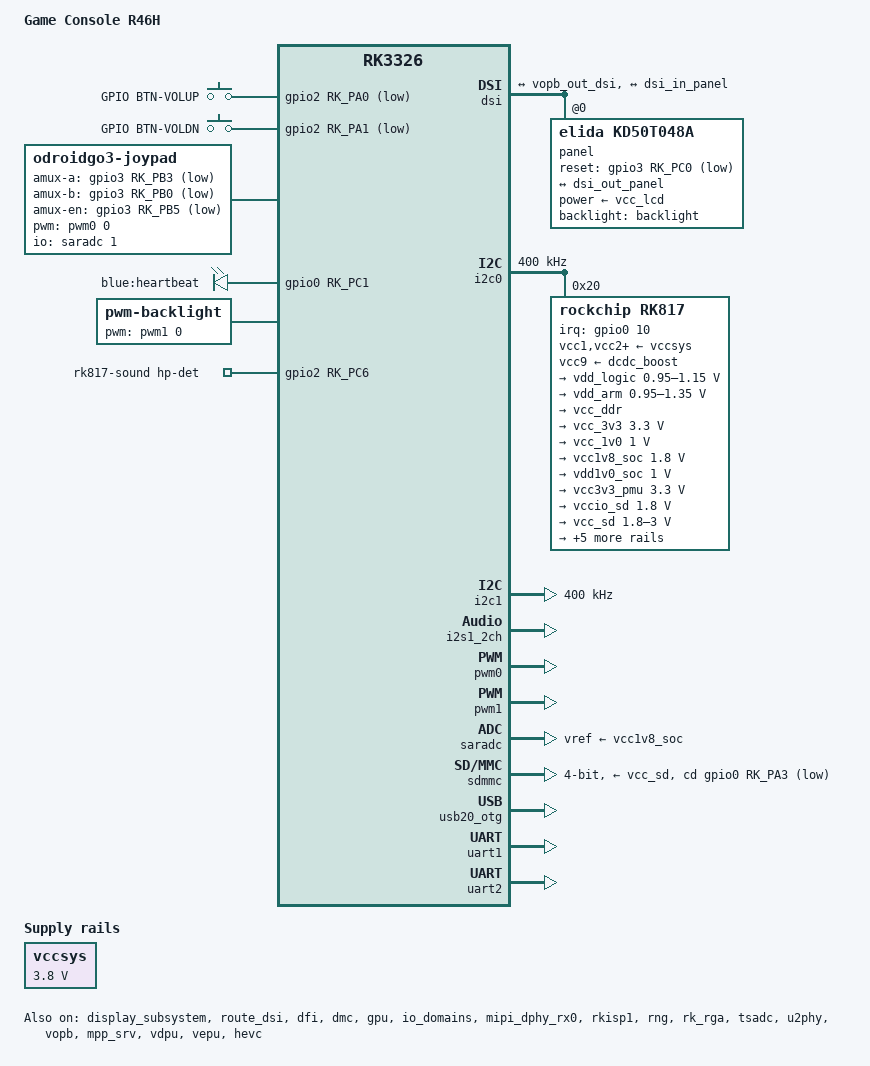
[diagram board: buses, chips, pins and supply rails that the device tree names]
// SPDX-License-Identifier: (GPL-2.0+ OR MIT)
/*
 * Copyright (c) 2020 Hardkernel Co., Ltd
 */

/dts-v1/;
#include <dt-bindings/display/drm_mipi_dsi.h>
#include <dt-bindings/gpio/gpio.h>
#include <dt-bindings/input/input.h>
#include <dt-bindings/pinctrl/rockchip.h>
#include <dt-bindings/sensor-dev.h>
#include "rk3326.dtsi"
#include "rk3326-linux.dtsi"

/ {
	model = "Game Console R46H";
	compatible = "rockchip,rk3326-odroidgo3-linux", "rockchip,rk3326";

	chosen {
                bootargs = "";
	};

	gpio_keys: odroidgo3-keys {
			compatible = "gpio-keys";
			#address-cells = <1>;
			#size-cells = <0>;
			autorepeat;
			button@0 {
				label = "GPIO BTN-VOLUP";
				linux,code = <115>;
				gpios = <&gpio2 RK_PA0 GPIO_ACTIVE_LOW>;
			};
			button@1 {
				label = "GPIO BTN-VOLDN";
				linux,code = <114>;
				gpios = <&gpio2 RK_PA1 GPIO_ACTIVE_LOW>;
			};
	};

       joypad: odroidgo3-joypad {
                compatible = "odroidgo3-joypad";
                pwms = <&pwm0 0 200000000 0>;		 
                pwm-names = "enable";
                rumble-boost-weak = <0x0000>;
                rumble-boost-strong = <0x0000>;
		 
                joypad-name = "GO-Super Gamepad";
                joypad-product = <0x1100>;
                joypad-revision = <0x0100>;

               status = "okay";
                /*
                  - odroidgo3-joypad sysfs list -
                  * for poll device interval(ms)
                  /sys/devices/platform/odroidgo3_joypad/poll_interval [rw]
                  ex) echo 20 > poll_interval
                   * for button-adc-fuzz
                  /sys/devices/platform/odroidgo3_joypad/adc_fuzz [r]
                   * for button-adc-flat
                  /sys/devices/platform/odroidgo3_joypad/adc_flat [r]

		   * for report control(1:enable, 0:disable)
		   /sys/devices/platform/odroidgo3_joypad/enable [rw]
		   * for adc calibration value setup(current adcs value -> cal value)
		   /sys/devices/platform/odroidgo3_joypad/adc_cal [rw]
		   ex) echo 0 > adc_cal

		   * for rumble period(ns)
		   /sys/devices/platform/odroidgo3_joypad/rumble_period
		   ex) echo 20000000 > rumble_duty_cycle
		   ex) cat rumble_duty_cycle -->get current duty cycle

		   * for rumble boost(0~65535)
		   /sys/devices/platform/odroidgo3_joypad/rumble_boost_weak
		   /sys/devices/platform/odroidgo3_joypad/rumble_boost_strong


		   * for amux data debug
		   * Joypad driver is disabled when using this sysfs.
		   /sys/devices/platform/odroidgo3_joypad/amux_debug [rw]
		   ex) echo 0 > amux_debug --> select amux channel
		   ex) cat amux_debug --> get adc data of seleted channel
                */

               /* gpio pincontrol setup */
                pinctrl-names = "default";
                pinctrl-0 = <&btn_pins>;
                pinctrl-1 = <&pwm0_pin>;

               /* Analog mux define */
               io-channel-names = "amux_adc";
               io-channels = <&saradc 1>;

               /* adc mux channel count */
               amux-count = <4>;
               /* adc mux select(a,b) gpio */
               amux-a-gpios = <&gpio3 RK_PB3 GPIO_ACTIVE_LOW>;
               amux-b-gpios = <&gpio3 RK_PB0 GPIO_ACTIVE_LOW>;
               /* adc mux enable gpio */
               amux-en-gpios = <&gpio3 RK_PB5 GPIO_ACTIVE_LOW>;

               /* adc calculate scale */
               button-adc-scale = <2>;

               /* adc deadzone range  */
               button-adc-deadzone = <64>;

               /*
                 specifies fuzz value that is used to filter noise from
                 the event stream.
               */
               button-adc-fuzz = <32>;
               button-adc-flat = <32>;

               /*
                 Analog Stick data tuning value(precent)
                 p = positive direction, n = negative direction
                 report value = (real_adc_data * tuning_value) / 100
               */
               abs_x-p-tuning = <200>;
               abs_x-n-tuning = <200>;

               abs_y-p-tuning = <200>;
               abs_y-n-tuning = <200>;

               abs_rx-p-tuning = <200>;
               abs_rx-n-tuning = <200>;

               abs_ry-p-tuning = <200>;
               abs_ry-n-tuning = <200>;

               /* poll device interval (ms), adc read interval */
               poll-interval = <10>;

		/* required for RG351MP */
		invert-absx;
		invert-absy;
		switch-rxy;
		invert-absry;
		
		/* gpio button auto repeat set value : default disable */
		/*
			autorepeat;
		*/

            	/*** GameConsole R36s Switch layout ***			 
				 /-----------------------------------------------/|
			    /												/ |
               |------------------------------------------------| |
               |  |------------------------------------------|  | |
               |  |                                          |  | |
               |  |                                          |  | |
               |  |                                          |  | |
               |  |                                          |  | |
               |  |                LCD Display               |  | |
               |  |                                          |  | |
               |  |                                          |  | |
               |  |                                          |  | |
               |  |------------------------------------------|  | |
               |------------------------------------------------| \
               | sw15  sw21        sw10   sw9        sw20  sw16 |  |
               |------------------------------------------------| /
               | 												| |
               |      sw1      					     sw8    	| |
               |   sw3   sw4   					  sw7   sw5 	| |
               |      sw2      					     sw6    	| |
               | 												| |
               | 												| |
               | 												| |
               |			JOYPAD				JOYPAD			| |
               | 												| |
               |												| |
               |------------| DC  |---|Aux|---| OTG |-----------|/
               */
                /*
                    joypad driver is poll-device driver.
                    poll-device is does not support wakeup-source.
               */
                sw1 { //DPAD UP
                        gpios = <&gpio1 RK_PB4 GPIO_ACTIVE_LOW>;
                        label = "GPIO DPAD-UP";
                        linux,code = <103>; // 0x220
                };
                sw2 { //DPAD DOWN
                        gpios = <&gpio1 RK_PB5 GPIO_ACTIVE_LOW>;
                        label = "GPIO DPAD-DOWN";
                        linux,code = <108>; // 0x221
                };
                sw3 { //DPAD LEFT
                        gpios = <&gpio1 RK_PB6 GPIO_ACTIVE_LOW>;
                        label = "GPIO DPAD-LEFT";
                        linux,code = <105>; // 0x222
                };
                sw4 { //DPAD RIGHT
                        gpios = <&gpio1 RK_PB7 GPIO_ACTIVE_LOW>;
                        label = "GPIO DPAD-RIGHT";
                        linux,code = <106>; // 0x223
                };
                sw5 { //A BUTTON
                        gpios = <&gpio1 RK_PA2 GPIO_ACTIVE_LOW>;
                        label = "GPIO KEY BTN-A";
                        linux,code = <304>; // 0x131
                };
                sw6 { //B BUTTON
                        gpios = <&gpio1 RK_PA5 GPIO_ACTIVE_LOW>;
                        label = "GPIO BTN-B";
                        linux,code = <305>; // 0x130
                };
                sw7 { //Y BUTTON
                        gpios = <&gpio1 RK_PA6 GPIO_ACTIVE_LOW>;
                        label = "GPIO BTN-Y";
                        linux,code = <308>; // 0x134
                };
                sw8 { //X BUTTON
                        gpios = <&gpio1 RK_PA7 GPIO_ACTIVE_LOW>;
                        label = "GPIO BTN-X";
                        linux,code = <307>; // 0x133
                };
                sw11 { //
                        gpios = <&gpio2 RK_PA2 GPIO_ACTIVE_LOW>;
                        label = "GPIO F3";
                        linux,code = <158>; // 0x2c2
                };
                sw12 {
                        gpios = <&gpio2 RK_PA3 GPIO_ACTIVE_LOW>;
                        label = "GPIO F4";
                        linux,code = <125>; // 0x2c3
                };
                sw13 { //
                        gpios = <&gpio2 RK_PA4 GPIO_ACTIVE_LOW>;
                        label = "GPIO F5";
                        linux,code = <172>; // 0x2c4
                };
                sw15 { // L1
                        gpios = <&gpio2 RK_PA6 GPIO_ACTIVE_LOW>;
                        label = "GPIO TOP-LEFT";
                        linux,code = <310>; // 0x02
                };
                sw16 { //R1
                        gpios = <&gpio2 RK_PA7 GPIO_ACTIVE_LOW>;
                        label = "GPIO TOP-RIGHT";
                        linux,code = <311>; // 0x05
                };
                sw19 { //SELECT BUTTON
                        gpios = <&gpio3 RK_PB1 GPIO_ACTIVE_LOW>;
                        label = "GPIO F1";
                        linux,code = <314>;
                };
                sw20 { //R2
                        gpios = <&gpio3 RK_PB7 GPIO_ACTIVE_LOW>;
                        label = "GPIO TOP-RIGHT2";
                        linux,code = <313>;
                };
                sw21 { //L2
                        gpios = <&gpio3 RK_PB2 GPIO_ACTIVE_LOW>;
                        label = "GPIO TOP-LEFT2";
                        linux,code = <312>;
                };
                sw22 { //START BUTTON
                        gpios = <&gpio3 RK_PB4 GPIO_ACTIVE_LOW>;
                        label = "GPIO F2";
                        linux,code = <315>;
                };
        };


	fiq-debugger {
		compatible = "rockchip,fiq-debugger";
		rockchip,serial-id = <2>;
		rockchip,wake-irq = <0>;
		/* If enable uart uses irq instead of fiq */
		rockchip,irq-mode-enable = <0>;
		rockchip,baudrate = <115200>;  /* Only 115200 and 1500000 */
		interrupts = <GIC_SPI 127 IRQ_TYPE_LEVEL_LOW>;
		pinctrl-names = "default";
		pinctrl-0 = <&uart2m1_xfer>;
		status = "okay";
	};

	leds: gpio_leds {
		compatible = "gpio-leds";

		pinctrl-names = "led_pins";
		pinctrl-0 = <&led_pins>;

		/* Blue LED : GPIO0_C1 */
		heartbeat {
			label = "blue:heartbeat";
			gpios = <&gpio0 RK_PC1 GPIO_ACTIVE_HIGH>;
			linux,default-trigger = "heartbeat";
		};
	};

	backlight: backlight {
		compatible = "pwm-backlight";
		pwms = <&pwm1 0 40000 0>;
		brightness-levels = <
			  0   1   2   3   4   5   6   7
			  8   9  10  11  12  13  14  15
			 16  17  18  19  20  21  22  23
			 24  25  26  27  28  29  30  31
			 32  33  34  35  36  37  38  39
			 40  41  42  43  44  45  46  47
			 48  49  50  51  52  53  54  55
			 56  57  58  59  60  61  62  63
			 64  65  66  67  68  69  70  71
			 72  73  74  75  76  77  78  79
			 80  81  82  83  84  85  86  87
			 88  89  90  91  92  93  94  95
			 96  97  98  99 100>;
		default-brightness-level = <50>; /* default 50% */
	};

	reserved-memory {
		#address-cells = <2>;
		#size-cells = <2>;
		ranges;

		ramoops@110000 {
			compatible = "ramoops";
			reg = <0x0 0x110000 0x0 0xf0000>;
			record-size = <0x0 0x20000>;
			console-size = <0x0 0x80000>;
			ftrace-size = <0x0 0x00000>;
			pmsg-size = <0x0 0x00000>;
		};
	};

	rk817-sound {
		compatible = "simple-audio-card";
		simple-audio-card,format = "i2s";
		simple-audio-card,name = "rockchip,rk817-codec";
		simple-audio-card,mclk-fs = <256>;
		simple-audio-card,widgets =
			"Microphone", "Mic Jack",
			"Headphone", "Headphone Jack";
		simple-audio-card,routing =
			"MIC_IN", "Mic Jack",
			/*"IN1P", "Mic Jack",*/
			"Headphone Jack", "HPOL",
			"Headphone Jack", "HPOR";
		simple-audio-card,hp-det-gpio = <&gpio2 RK_PC6 GPIO_ACTIVE_HIGH>;
		simple-audio-card,codec-hp-det = <1>;
		simple-audio-card,cpu {
			sound-dai = <&i2s1_2ch>;
		};
		simple-audio-card,codec {
			sound-dai = <&rk817_codec>;
		};
	};

	vccsys: vccsys {
		compatible = "regulator-fixed";
		regulator-name = "vcc3v8_sys";
		regulator-always-on;
		regulator-min-microvolt = <3800000>;
		regulator-max-microvolt = <3800000>;
	};
	//Needed to make the OTG port be powered.
	/*vcc_host: vcc_host {
		compatible = "regulator-fixed";
		regulator-name = "vcc_host";
		regulator-min-microvolt = <5000000>;
		regulator-max-microvolt = <5000000>;

		gpio = <&gpio0 RK_PB7 GPIO_ACTIVE_HIGH>;
		enable-active-high;
		regulator-always-on;
		vin-supply = <&vccsys>;
	};*/

	wireless-wlan {
		compatible = "wlan-platdata";
		rockchip,grf = <&grf>;
		/* wifi_chip_type - wifi chip define
		* ap6210, ap6330, ap6335
		* rtl8188eu, rtl8723bs, rtl8723bu
		* esp8089
		*/
		wifi_chip_type = "esp8089";
		sdio_vref = <3300>; //1800mv or 3300mv
		status = "okay";
	};

};


&bus_apll {
	bus-supply = <&vdd_logic>;
	status = "okay";
};

&cpu0 {
	cpu-supply = <&vdd_arm>;
};

&cpu0_opp_table {
	rockchip,avs = <1>;

	/* bin scaling clock 1.296MHz */
	rockchip,bin-scaling-sel = <
		0               13
		1               13
	>;
    /delete-node/ opp-96000000;
    /delete-node/ opp-216000000;
    /delete-node/ opp-1368000000;
    /delete-node/ opp-1416000000;
    /delete-node/ opp-1440000000;
    /delete-node/ opp-1464000000;
    /delete-node/ opp-1488000000;
    /delete-node/ opp-1512000000;
};

&display_subsystem {
        status = "okay";
        ports = <&vopb_out>;
        status = "okay";

        route {
                route-dsi {
                        status = "okay";
                        connect = <&vopb_out_dsi>;
                };

        };
};


&dsi {
	status = "okay";

	panel@0 {
		compatible = "elida,kd50t048a", "simple-panel-dsi";
		reg = <0>;

		/* pwm1 backlight */
		backlight = <&backlight>;

		/* LCD reset gpio GPIO3.C0 */
		reset-gpios = <&gpio3 RK_PC0 GPIO_ACTIVE_LOW>;

		/* RK817 LDO8 */
		power-supply = <&vcc_lcd>;

		
		prepare-delay-ms = <20>;
		reset-delay-ms = <150>;
		init-delay-ms = <20>;
		enable-delay-ms = <120>;
		disable-delay-ms = <50>;
		unprepare-delay-ms = <20>;

		/* LCD size */
		width-mm = <52>;
		height-mm = <70>;

		dsi,flags = <(MIPI_DSI_MODE_VIDEO           |
			      MIPI_DSI_MODE_VIDEO_BURST     |
			      MIPI_DSI_MODE_LPM             |
			      MIPI_DSI_MODE_EOT_PACKET)>;

		dsi,format = <MIPI_DSI_FMT_RGB888>;
		dsi,lanes = <4>;

		/*
			- panel-init-sequence data description -
			  mipi_cmd, delay(ms), len, lcd_cmd, lcd_data...

			- mipi_cmd description -
			  05 : MIPI_DSI_SHORT_WRITE
			  15 : MIPI_DSI_SHORT_WRITE_PARAM
			  39 : MIPI_DSI_LONG_WRITE

			- ST7710S (Initialize sequence) -
			  01: Soft reset
			  11: Sleep out & 250ms wait
			  FF: Bank select CMD
			  C0: CMD2 Bank0 LNESET
			  C1: CMD2 Bank0 PORCTRL
			  C2: CMD2 Bank0 INVSEL
			  CC: ???
			  B0: CMD2 Bank0 PVGAMCTRL
			  B1: CMD2 Bank0 NVGAMCTRL
			  B0: CMD2 Bank1 VRHS
			  B1: CMD2 Bank1 VCOMS
			  B2: CMD2 Bank1 VGHSS
			  B3: CMD2 Bank1 TESTCMD
			  B5: CMD2 Bank1 VGLS
			  B7: CMD2 Bank1 PWRCTRL1
			  B8: CMD2 Bank1 PWRCTRL2
			  B9: CMD2 Bank1 PWRCTRL3
			  C1: CMD2 Bank1 PDR1
			  C2: CMD2 Bank1 PDR2
			  D0: CMD2 Bank1 MIPISET1
			  E0 ~ EF : GIP Setting
			  3A: Normal CMD COLMOD
			  53: Normal CMD WRCTRLD
			  55: Normal CMD WRCABC
			  5E: Normal CMD WRCABCMB
			  29: DisplayOn & 50ms wait
		*/
			panel-init-sequence = [
				15 00 02 ee 01 
				15 00 02 ea 07 
				15 00 02 eb 12 
				15 00 02 0a 8b 
				15 00 02 17 35 
				15 00 02 1d 33 
				15 00 02 21 01 
				15 00 02 28 1c
				15 00 02 29 27 
				15 00 02 2a 63 
				15 00 02 2b b5 
				15 00 02 2c 00 
				15 00 02 2d 33 
				15 00 02 2f f3 
				15 00 02 ee 02 
				15 00 02 39 78 
				15 00 02 39 78 
				15 00 02 00 00 
				15 00 02 01 18 
				15 00 02 02 15 
				15 00 02 03 10 
				15 00 02 04 18 
				15 00 02 05 3f 
				15 00 02 06 11 
				15 00 02 07 11 
				15 00 02 08 11 
				15 00 02 09 0f 
				15 00 02 0a 10 
				15 00 02 0b 54 
				15 00 02 0c 14 
				15 00 02 0d 17 
				15 00 02 0e 35 
				15 00 02 0f 37 
				15 00 02 10 3f 
				15 00 02 20 00 
				15 00 02 21 18 
				15 00 02 22 15 
				15 00 02 23 10 
				15 00 02 24 12 
				15 00 02 25 37 
				15 00 02 26 0b 
				15 00 02 27 0d 
				15 00 02 28 0d 
				15 00 02 29 0b 
				15 00 02 2a 10 
				15 00 02 2b 54 
				15 00 02 2c 14 
				15 00 02 2d 17 
				15 00 02 2e 35 
				15 00 02 2f 37 
				15 00 02 30 3f 
				15 00 02 ee 04 
				15 00 02 00 04 
				15 00 02 01 01 
				15 00 02 02 80 
				15 00 02 03 04 
				15 00 02 04 00 
				15 00 02 06 16 
				15 00 02 07 03 
				15 00 02 08 13 
				15 00 02 09 0a 
				15 00 02 0a 0f 
				15 00 02 0b 10 
				15 00 02 22 80 
				15 00 02 24 08
				15 00 02 2a 00 
				15 00 02 ee 05 
				15 00 02 00 04 
				15 00 02 01 08 
				15 00 02 02 55 
				15 00 02 03 05 
				15 00 02 04 00 
				15 00 02 05 04 
				15 00 02 06 00 
				15 00 02 07 13 
				15 00 02 08 1e 
				15 00 02 09 66 
				15 00 02 0d 22 
				15 00 02 10 08 
				15 00 02 11 0c 
				15 00 02 12 55 
				15 00 02 13 05 
				15 00 02 19 14 
				15 00 02 1a 76 
				15 00 02 23 00 
				15 00 02 43 13 
				15 00 02 40 44 
				15 00 02 41 00 
				15 00 02 30 01 
				15 00 02 31 01 
				15 00 02 32 00 
				15 00 02 33 14 
				15 00 02 34 14 
				15 00 02 35 b4 
				15 00 02 36 01 
				15 00 02 37 01 
				15 00 02 38 00 
				15 00 02 39 14 
				15 00 02 3a 14 
				15 00 02 44 01 
				15 00 02 45 81 
				15 00 02 46 05 
				15 00 02 ee 06 
				15 00 02 00 23 
				15 00 02 01 01 
				15 00 02 02 04 
				15 00 02 06 cd 
				15 00 02 08 67 
				15 00 02 09 45 
				15 00 02 0a 23 
				15 00 02 0b 01 
				15 00 02 ee 07 
				15 00 02 00 3c
				15 00 02 01 20 
				15 00 02 02 20 
				15 00 02 03 21 
				15 00 02 04 21 
				15 00 02 05 3c 
				15 00 02 06 3c 
				15 00 02 07 04 
				15 00 02 08 04 
				15 00 02 09 0c 
				15 00 02 0a 0c 
				15 00 02 0b 01 
				15 00 02 0c 15 
				15 00 02 0d 15 
				15 00 02 0e 17 
				15 00 02 0f 17 
				15 00 02 10 11 
				15 00 02 11 11 
				15 00 02 12 13 
				15 00 02 13 13 
				15 00 02 14 0d 
				15 00 02 15 0d 
				15 00 02 20 3c 
				15 00 02 21 20 
				15 00 02 22 20 
				15 00 02 23 21 
				15 00 02 24 21 
				15 00 02 25 3c 
				15 00 02 26 3c 
				15 00 02 27 04 
				15 00 02 28 04 
				15 00 02 29 0c 
				15 00 02 2a 0c 
				15 00 02 2b 00 
				15 00 02 2c 14 
				15 00 02 2d 14 
				15 00 02 2e 16 
				15 00 02 2f 16 
				15 00 02 30 10 
				15 00 02 31 10 
				15 00 02 32 12 
				15 00 02 33 12 
				15 00 02 34 0d 
				15 00 02 35 0d 
				15 00 02 ee 08 
				15 00 02 10 00 
				15 00 02 12 da 
				15 00 02 14 10 
				15 00 02 22 69 
				15 00 02 ee 0f 
				15 00 02 00 01 
				15 00 02 01 10 
				15 00 02 ee 00 
				15 00 02 ea 00 
				15 00 02 eb 00 
				05 c8 01 11 
				05 14 01 29];
		
		/* 28: DisplayOff */
		/* 10: SleepIn */
		panel-exit-sequence = [
			05 14 01 28
			05 0A 01 10
		];
		
		display-timings {
			native-mode = <&timing0>;

			timing0: timing0 {
									clock-frequency = <0x3938700>;
					hactive = <0x400>;
					vactive = <0x300>;
					hfront-porch = <0x50>;
					hsync-len = <0x3c>;
					hback-porch = <0x3c>;
					vfront-porch = <0x10>;
					vsync-len = <0x08>;
					vback-porch = <0x08>;
					hsync-active = <0x00>;
					vsync-active = <0x00>;
					de-active = <0x00>;
					pixelclk-active = <0x00>;
			};
		};		
						
		ports {
			#address-cells = <1>;
			#size-cells = <0>;

			port@0 {
				reg = <0>;
				dsi_in_panel: endpoint {
					remote-endpoint = <&dsi_out_panel>;
				};
			};
		};
	};

        ports {
                #address-cells = <1>;
                #size-cells = <0>;
                port@0 {
                        reg = <0>;
                        #address-cells = <1>;
                        #size-cells = <0>;

                        dsi_in_vopb: endpoint@0 {
                                reg = <0>;
                                status = "okay";
				remote-endpoint = <&vopb_out_dsi>;
                        };
		};
                port@1 {
                        reg = <1>;
                        #address-cells = <1>;
                        #size-cells = <0>;
                        dsi_out_panel: endpoint {
                                remote-endpoint = <&dsi_in_panel>;
                        };
                };
        };
};

&dsi_in_vopb {
	status = "okay";
};

&dsi_in_vopl {
        status = "disabled";
};

&route_dsi {
	connect = <&vopb_out_dsi>;
	status = "okay";
};

&dfi {
	status = "okay";
};

&dmc {
	auto-freq-en = <1>;
	center-supply = <&vdd_logic>;
	status = "okay";
};

&dmc_opp_table {
	/delete-node/ opp-194000000;
	/delete-node/ opp-328000000;
	/delete-node/ opp-450000000;
	/delete-node/ opp-856000000;

	opp-786000000 {
		status = "okay";
	};
};

&gpu_opp_table {
        /delete-node/ opp-200000000;
        /delete-node/ opp-300000000;
        opp-520000000 {
                opp-hz = /bits/ 64 <520000000>;
                opp-microvolt = <1150000>;
                opp-microvolt-L0 = <1150000>;
                opp-microvolt-L1 = <1150000>;
                opp-microvolt-L2 = <1100000>;
                opp-microvolt-L3 = <1050000>;
        };
};

&emmc {
	status = "disabled";
};

&gpu {
	mali-supply = <&vdd_logic>;
	status = "okay";
//	physical-memory-group-manager = <&gpu_physical_memory_group_manager>;
};

&i2c0 {
	status = "okay";
	clock-frequency = <400000>;
	i2c-scl-rising-time-ns = <280>;
	i2c-scl-falling-time-ns = <16>;

	rk817: pmic@20 {
		compatible = "rockchip,rk817";
		reg = <0x20>;
		interrupt-parent = <&gpio0>;
		interrupts = <10 IRQ_TYPE_LEVEL_LOW>;
		pinctrl-names = "default", "pmic-sleep",
				"pmic-power-off", "pmic-reset";
		pinctrl-0 = <&pmic_int>;
		pinctrl-1 = <&soc_slppin_slp>, <&rk817_slppin_slp>;
		pinctrl-2 = <&soc_slppin_gpio>, <&rk817_slppin_pwrdn>;
		pinctrl-3 = <&soc_slppin_rst>, <&rk817_slppin_rst>;
		rockchip,system-power-controller;
		wakeup-source;
		#clock-cells = <1>;
		clock-output-names = "rk808-clkout1", "rk808-clkout2";
		//fb-inner-reg-idxs = <2>;
		/* 1: rst regs (default in codes), 0: rst the pmic */
		pmic-reset-func = <1>;

		vcc1-supply = <&vccsys>;
		vcc2-supply = <&vccsys>;
		vcc3-supply = <&vccsys>;
		vcc4-supply = <&vccsys>;
		vcc5-supply = <&vccsys>;
		vcc6-supply = <&vccsys>;
		vcc7-supply = <&vccsys>;
		vcc8-supply = <&vccsys>;
		vcc9-supply = <&dcdc_boost>;

		pwrkey {
			status = "okay";
		};

		pinctrl_rk8xx: pinctrl_rk8xx {
			gpio-controller;
			#gpio-cells = <2>;

			rk817_ts_gpio1: rk817_ts_gpio1 {
				pins = "gpio_ts";
				function = "pin_fun1";
				/* output-low; */
				/* input-enable; */
			};

			rk817_gt_gpio2: rk817_gt_gpio2 {
				pins = "gpio_gt";
				function = "pin_fun1";
			};

			rk817_pin_ts: rk817_pin_ts {
				pins = "gpio_ts";
				function = "pin_fun0";
			};

			rk817_pin_gt: rk817_pin_gt {
				pins = "gpio_gt";
				function = "pin_fun0";
			};

			rk817_slppin_null: rk817_slppin_null {
				pins = "gpio_slp";
				function = "pin_fun0";
			};

			rk817_slppin_slp: rk817_slppin_slp {
				pins = "gpio_slp";
				function = "pin_fun1";
			};

			rk817_slppin_pwrdn: rk817_slppin_pwrdn {
				pins = "gpio_slp";
				function = "pin_fun2";
			};

			rk817_slppin_rst: rk817_slppin_rst {
				pins = "gpio_slp";
				function = "pin_fun3";
			};
		};

		regulators {
			vdd_logic: DCDC_REG1 {
				regulator-always-on;
				regulator-boot-on;
				regulator-min-microvolt = <950000>;
				regulator-max-microvolt = <1150000>;
				regulator-ramp-delay = <6001>;
				regulator-initial-mode = <0x2>;
				regulator-name = "vdd_logic";
				regulator-state-mem {
					regulator-on-in-suspend;
					regulator-suspend-microvolt = <950000>;
				};
			};

			vdd_arm: DCDC_REG2 {
				regulator-always-on;
				regulator-boot-on;
				regulator-min-microvolt = <950000>;
				regulator-max-microvolt = <1350000>;
				regulator-ramp-delay = <6001>;
				regulator-initial-mode = <0x2>;
				regulator-name = "vdd_arm";
				regulator-state-mem {
					regulator-off-in-suspend;
					regulator-suspend-microvolt = <950000>;
				};
			};

			vcc_ddr: DCDC_REG3 {
				regulator-always-on;
				regulator-boot-on;
				regulator-initial-mode = <0x2>;
				regulator-name = "vcc_ddr";
				regulator-state-mem {
					regulator-on-in-suspend;
				};
			};

			vcc_3v3: DCDC_REG4 {
				regulator-always-on;
				regulator-boot-on;
				regulator-min-microvolt = <3300000>;
				regulator-max-microvolt = <3300000>;
				regulator-initial-mode = <0x2>;
				regulator-name = "vcc_3v3";
				regulator-state-mem {
					regulator-off-in-suspend;
					regulator-suspend-microvolt = <3300000>;
				};
			};

			/* Not Used */
			vcc_1v0: LDO_REG1 {
				regulator-min-microvolt = <1000000>;
				regulator-max-microvolt = <1000000>;
				regulator-name = "vcc_1v0";
				regulator-state-mem {
					regulator-off-in-suspend;
					regulator-suspend-microvolt = <1000000>;
				};
			};

			vcc1v8_soc: LDO_REG2 {
				regulator-always-on;
				regulator-boot-on;
				regulator-min-microvolt = <1800000>;
				regulator-max-microvolt = <1800000>;

				regulator-name = "vcc1v8_soc";
				regulator-state-mem {
					regulator-on-in-suspend;
					regulator-suspend-microvolt = <1800000>;
				};
			};

			vdd1v0_soc: LDO_REG3 {
				regulator-always-on;
				regulator-boot-on;
				regulator-min-microvolt = <1000000>;
				regulator-max-microvolt = <1000000>;

				regulator-name = "vcc1v0_soc";
				regulator-state-mem {
					regulator-on-in-suspend;
					regulator-suspend-microvolt = <1000000>;
				};
			};

			vcc3v3_pmu: LDO_REG4 {
				regulator-always-on;
				regulator-boot-on;
				regulator-min-microvolt = <3300000>;
				regulator-max-microvolt = <3300000>;

				regulator-name = "vcc3v3_pmu";
				regulator-state-mem {
					regulator-on-in-suspend;
					regulator-suspend-microvolt = <3300000>;

				};
			};

			vccio_sd: LDO_REG5 {
				regulator-always-on;
				regulator-boot-on;
				regulator-min-microvolt = <1800000>;
				regulator-max-microvolt = <1800000>;

				regulator-name = "vccio_sd";
				regulator-state-mem {
					regulator-on-in-suspend;
					regulator-suspend-microvolt = <1800000>;
				};
			};

			vcc_sd: LDO_REG6 {
				regulator-min-microvolt = <1800000>;
				regulator-max-microvolt = <3000000>;
				regulator-boot-on;

				regulator-name = "vcc_sd";
				regulator-state-mem {
					regulator-on-in-suspend;
					regulator-suspend-microvolt = <3000000>;

				};
			};

			/* GO3 : Not used LCD Backlight Power */
			vcc_backlight: LDO_REG7 {
				regulator-min-microvolt = <3300000>;
				regulator-max-microvolt = <3300000>;
				regulator-name = "vcc_backlight";
				regulator-state-mem {
					regulator-off-in-suspend;
					regulator-suspend-microvolt = <3300000>;
				};
			};

			/* Rev 0.2 LCD IO Power */
			vcc_lcd: LDO_REG8 {
				regulator-min-microvolt = <2800000>;
				regulator-max-microvolt = <2800000>;
				regulator-name = "vcc_lcd";
				regulator-state-mem {
					regulator-off-in-suspend;
					regulator-suspend-microvolt = <2800000>;
				};
			};

			vcc_wifi: LDO_REG9 {
				regulator-always-on;
				regulator-boot-on;
				regulator-min-microvolt = <3300000>;
				regulator-max-microvolt = <3300000>;

				regulator-name = "vcc_wifi";
				regulator-state-mem {
					regulator-off-in-suspend;
					regulator-suspend-microvolt = <3300000>;
				};
			};

			dcdc_boost: BOOST {
				regulator-always-on;
				regulator-boot-on;
				regulator-min-microvolt = <5000000>;
				regulator-max-microvolt = <5400000>;
				regulator-name = "boost";
			};

			otg_switch: OTG_SWITCH {
				regulator-boot-on;
				regulator-name = "otg_switch";
			};
		};

		/*
			- HCP775474ZC Battery
			Capacity : 3.7V 4000mAh, 14.8Wh
			Rated Voltage = 3.7V
			Charge Cut-Off Voltage : 4.25V
			Discharge Cut-Off Voltage : 3.0V
			Internal Impedance : 180 mOhm
			Charging Voltage : 4.2V
			Charging Voltage Max : 4.25V
			Sample resister : 10 mohm (R12)
		*/
		battery {
			compatible = "rk817,battery";
			ocv_table = <3500 3625 3685 3697 3718 3735 3748
			3760 3774 3788 3802 3816 3834 3853
			3877 3908 3946 3975 4018 4071 4106>;
			design_capacity = <3500>;
			design_qmax = <4020>;
			bat_res = <180>;
			sleep_enter_current = <300>;
			sleep_exit_current = <300>;
			sleep_filter_current = <100>;
			power_off_thresd = <3500>;
			zero_algorithm_vol = <3850>;
			max_soc_offset = <60>;
			monitor_sec = <5>;
			virtual_power = <0>;
			sample_res = <10>;
		};

		charger {
			compatible = "rk817,charger";
			min_input_voltage = <4500>;
			max_input_current = <1500>;
			max_chrg_current = <2000>;
			max_chrg_voltage = <4200>;
			chrg_term_mode = <0>;
			chrg_finish_cur = <300>;
			virtual_power = <0>;
			sample_res = <10>;

			/* P.C.B rev0.2 DC Detect & Charger Status LED GPIO */
			dc_det_gpio  = <&gpio0 RK_PB3 GPIO_ACTIVE_HIGH>;
			chg_led_gpio = <&gpio0 RK_PB5 GPIO_ACTIVE_HIGH>;

			extcon = <&u2phy>;
		};

		rk817_codec: codec {
			#sound-dai-cells = <0>;
			compatible = "rockchip,rk817-codec";
			clocks = <&cru SCLK_I2S1_OUT>;
			clock-names = "mclk";
			pinctrl-names = "default";
			pinctrl-0 = <&i2s1_2ch_mclk>;
			hp-volume = <20>;
			spk-volume = <3>;
			mic-in-differential;
			status = "okay";
		};
	};
};

/* EXT Header(P2) : 7(SCL:GPIO0.C2), 8(SDA:GPIO0.C3) */
&i2c1 {
	status = "okay";
	clock-frequency = <400000>;
};

/* MIPI CSI I2C */
&i2c2 {
	status = "disabled";
};


/* I2S 1 Channel Used */
&i2s1_2ch {
	status = "okay";
	#sound-dai-cells = <0>;
};

&io_domains {
	/* GRF Register Voltage select control */
	status = "okay";

	/* SDIO I/O Voltage */
	vccio1-supply = <&vcc_3v3>;
	/* SDMMC I/O Voltage */
	vccio2-supply = <&vccio_sd>;
	/* CAM I/O Voltage */
	vccio3-supply = <&vcc_3v3>;
	/* LVDS/LCDC I/O Voltage */
	vccio4-supply = <&vcc_3v3>;
	/* I2S I/O Voltage */
	vccio5-supply = <&vcc_3v3>;
	/* eMMC I/O Voltage */
	vccio6-supply = <&vcc_3v3>;
};

&isp_mmu {
	status = "okay";
};

&mipi_dphy_rx0 {
	status = "okay";
};

&rkisp1 {
	status = "disabled";
};

&rng {
	status = "okay";
};

&spi0 {
	status = "disabled";
};

&pmu_io_domains {
	/* PMU GRF Register Voltage select control */
	status = "okay";

	/* PMU I/O Voltage */
	pmuio1-supply = <&vcc3v3_pmu>;
	/* GPIO0_B/GPIO0_C, Flash */
	pmuio2-supply = <&vcc3v3_pmu>;
};

/* Rumble PWM */
&pwm0 {
	status = "okay";
};

/* LCD Backlight PWM */
&pwm1 {
	status = "okay";
};

&route_dsi {
	connect = <&vopb_out_dsi>;
	status = "okay";
};

&rkisp1 {
	status = "okay";
};

&rk_isp {
	status = "disabled";
};

&rk_rga {
	status = "okay";
};

&rockchip_suspend {
	status = "okay";
	rockchip,sleep-debug-en = <1>;
};

&saradc {
	status = "okay";
	vref-supply = <&vcc1v8_soc>;
};

&sdmmc {
	bus-width = <4>;
	cap-mmc-highspeed;
	cap-sd-highspeed;
	supports-sd;
	card-detect-delay = <800>;
	ignore-pm-notify;
	cd-gpios = <&gpio0 RK_PA3 GPIO_ACTIVE_LOW>; /*[> CD GPIO <]*/
	sd-uhs-sdr12;
	sd-uhs-sdr25;
	sd-uhs-sdr50;
	sd-uhs-sdr104;
	vqmmc-supply = <&vccio_sd>;
	vmmc-supply = <&vcc_sd>;
	status = "okay";
};

&sdio {
	status = "disabled";
};

&tsadc {
	rockchip,hw-tshut-mode = <1>; /* tshut mode 0:CRU 1:GPIO */
	rockchip,hw-tshut-polarity = <0>; /* tshut polarity 0:LOW 1:HIGH */
	pinctrl-names = "gpio", "otpout";
	pinctrl-0 = <&tsadc_otp_gpio>;
	pinctrl-1 = <&tsadc_otp_out>;
	status = "okay";
};

&u2phy {
	status = "okay";

	u2phy_host: host-port {
		status = "okay";
	};

	u2phy_otg: otg-port {
		status = "disabled";
	};
};

&usb20_otg {
	status = "okay";
};

/*
	EXT Header(P2) UART :
	2(RXD:GPIO1.C0),3(TXD:GPIO1.C1),4(CTS:GPIO1.C2),5(RTS:GPIO1.C3)
*/

&uart1 {
	pinctrl-names = "default";
	pinctrl-0 = <&uart1_xfer &uart1_cts>;
	status = "okay";
};

&uart2 {
	pinctrl-names = "default";
	pinctrl-0 = <&uart2m1_xfer>;
	status = "okay";
};

&vip_mmu {
	status = "okay";
};

&vopb {
	status = "okay";
};


&vopb_mmu {
	status = "okay";
};

&vopl {
        status = "disabled";
};

&vopl_mmu {
        status = "disabled";
};

&mpp_srv {
	status = "okay";
};

&vdpu {
	status = "okay";
};

&vepu {
	status = "okay";
};

&vpu_mmu {
	status = "okay";
};

&hevc {
	status = "okay";
};

&hevc_mmu {
	status = "okay";
};

/delete-node/ &i2s0_8ch;
/delete-node/ &i2s0_8ch_sdo3;

&pinctrl {
	pmic {
		/* ODROID-GO2 : PMIC_INT(GPIO0.PB2) */
		pmic_int: pmic_int {
			rockchip,pins =
				<0 RK_PB2 RK_FUNC_GPIO &pcfg_pull_up>,
				<0 RK_PB3 RK_FUNC_GPIO &pcfg_pull_none>;
		};

		/* ODROID-GO2 : PMIC_SLEEP(GPIO0.PA4) */
		soc_slppin_gpio: soc_slppin_gpio {
			rockchip,pins =
				<0 RK_PA4 RK_FUNC_GPIO &pcfg_output_low>;
		};

		soc_slppin_slp: soc_slppin_slp {
			rockchip,pins =
				<0 RK_PA4 RK_FUNC_1 &pcfg_pull_none>;
		};

		soc_slppin_rst: soc_slppin_rst {
			rockchip,pins =
				<0 RK_PA4 RK_FUNC_2 &pcfg_pull_none>;
		};
	};

	leds {
		led_pins: led-pins {
			rockchip,pins = <0 RK_PC1 RK_FUNC_GPIO &pcfg_pull_none>;
		};
	};
	btns {
		btn_pins: btn-pins {
			rockchip,pins = <1 RK_PB4 RK_FUNC_GPIO &pcfg_pull_up>,
					<1 RK_PB5 RK_FUNC_GPIO &pcfg_pull_up>,
					<1 RK_PB6 RK_FUNC_GPIO &pcfg_pull_up>,
					<1 RK_PB7 RK_FUNC_GPIO &pcfg_pull_up>,
					<1 RK_PA2 RK_FUNC_GPIO &pcfg_pull_up>,
					<1 RK_PA5 RK_FUNC_GPIO &pcfg_pull_up>,
					<1 RK_PA6 RK_FUNC_GPIO &pcfg_pull_up>,
					<1 RK_PA7 RK_FUNC_GPIO &pcfg_pull_up>,

					<2 RK_PA0 RK_FUNC_GPIO &pcfg_pull_up>,
					<2 RK_PA1 RK_FUNC_GPIO &pcfg_pull_up>,
					<2 RK_PA2 RK_FUNC_GPIO &pcfg_pull_up>,
					<2 RK_PA3 RK_FUNC_GPIO &pcfg_pull_up>,
					<2 RK_PA4 RK_FUNC_GPIO &pcfg_pull_up>,
					<2 RK_PA5 RK_FUNC_GPIO &pcfg_pull_up>,
					<2 RK_PA6 RK_FUNC_GPIO &pcfg_pull_up>,
					<2 RK_PA7 RK_FUNC_GPIO &pcfg_pull_up>,
					<3 RK_PB1 RK_FUNC_GPIO &pcfg_pull_up>,
                    <3 RK_PB2 RK_FUNC_GPIO &pcfg_pull_up>,
					<3 RK_PB4 RK_FUNC_GPIO &pcfg_pull_up>,
					<3 RK_PB7 RK_FUNC_GPIO &pcfg_pull_up>;
		};
	};
};

/* DON'T PUT ANYTHING BELOW HERE.  PUT IT ABOVE PINCTRL */
/* DON'T PUT ANYTHING BELOW HERE.  PUT IT ABOVE PINCTRL */
/* DON'T PUT ANYTHING BELOW HERE.  PUT IT ABOVE PINCTRL */
